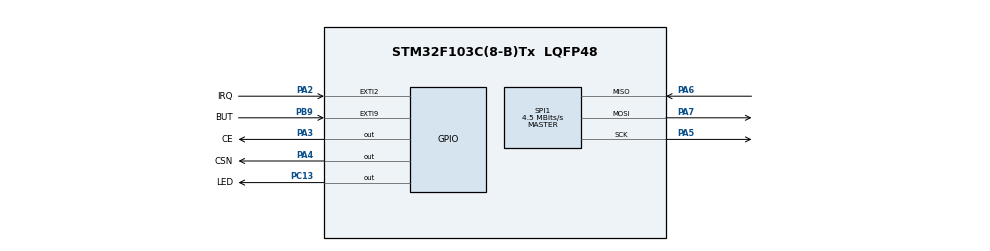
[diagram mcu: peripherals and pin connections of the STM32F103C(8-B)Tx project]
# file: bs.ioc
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Mcu.Family=STM32F1
Mcu.Name=STM32F103C(8-B)Tx
Mcu.Package=LQFP48
NVIC.EXTI2_IRQn=true\:1\:0\:true\:false\:true\:true\:true
NVIC.EXTI9_5_IRQn=true\:0\:0\:false\:false\:true\:true\:true
NVIC.PriorityGroup=NVIC_PRIORITYGROUP_4
NVIC.TIM2_IRQn=true\:0\:0\:false\:false\:true\:true\:true
PA13.Mode=Serial_Wire
PA13.Signal=SYS_JTMS-SWDIO
PA14.Mode=Serial_Wire
PA14.Signal=SYS_JTCK-SWCLK
PA2.GPIO_Label=IRQ
PA2.GPIO_ModeDefaultEXTI=GPIO_MODE_IT_FALLING
PA2.Signal=GPXTI2
PA3.GPIO_Label=CE
PA3.Signal=GPIO_Output
PA4.GPIO_Label=CSN
PA4.Signal=GPIO_Output
PA5.Mode=Full_Duplex_Master
PA5.Signal=SPI1_SCK
PA6.Mode=Full_Duplex_Master
PA6.Signal=SPI1_MISO
PA7.Mode=Full_Duplex_Master
PA7.Signal=SPI1_MOSI
PB9.GPIO_Label=BUT
PB9.GPIO_ModeDefaultEXTI=GPIO_MODE_IT_FALLING
PB9.GPIO_PuPd=GPIO_PULLUP
PB9.Signal=GPXTI9
PC13-TAMPER-RTC.GPIO_Label=LED
PC13-TAMPER-RTC.Signal=GPIO_Output
PD0-OSC_IN.Mode=HSE-External-Oscillator
PD0-OSC_IN.Signal=RCC_OSC_IN
PD1-OSC_OUT.Mode=HSE-External-Oscillator
PD1-OSC_OUT.Signal=RCC_OSC_OUT
ProjectManager.HeapSize=0x200
ProjectManager.StackSize=0x400
ProjectManager.TargetToolchain=MDK-ARM V5.32
RCC.AHBFreq_Value=72000000
RCC.APB1CLKDivider=RCC_HCLK_DIV2
RCC.APB1Freq_Value=36000000
RCC.APB1TimFreq_Value=72000000
RCC.APB2Freq_Value=72000000
RCC.APB2TimFreq_Value=72000000
RCC.HCLKFreq_Value=72000000
RCC.PLLMUL=RCC_PLL_MUL9
RCC.PLLSourceVirtual=RCC_PLLSOURCE_HSE
RCC.RTCClockSelection=RCC_RTCCLKSOURCE_LSE
RCC.SYSCLKFreq_VALUE=72000000
RCC.SYSCLKSource=RCC_SYSCLKSOURCE_PLLCLK
RCC.USBFreq_Value=72000000
SPI1.BaudRatePrescaler=SPI_BAUDRATEPRESCALER_16
SPI1.CalculateBaudRate=4.5 MBits/s
SPI1.Direction=SPI_DIRECTION_2LINES
SPI1.Mode=SPI_MODE_MASTER
SPI1.VirtualType=VM_MASTER
TIM2.Period=36000
TIM2.Prescaler=1
VP_IWDG_VS_IWDG.Mode=IWDG_Activate
VP_TIM2_VS_ClockSourceINT.Mode=Internal
board=custom

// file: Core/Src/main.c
/* USER CODE BEGIN Header */
/**
  ******************************************************************************
  * @file           : main.c
  * @brief          : Main program body
  ******************************************************************************
  * @attention
  *
  * Copyright (c) 2022 STMicroelectronics.
  * All rights reserved.
  *
  * This software is licensed under terms that can be found in the LICENSE file
  * in the root directory of this software component.
  * If no LICENSE file comes with this software, it is provided AS-IS.
  *
  ******************************************************************************
  */
/* USER CODE END Header */
#include "main.h"

/* USER CODE BEGIN PV */

uint8_t buf[5]={0};
uint32_t milisec = 0;
uint8_t pushed = 0;
uint32_t time_ms = 0;

/* USER CODE END PV */

void SystemClock_Config(void);
static void MX_GPIO_Init(void);
static void MX_IWDG_Init(void);
static void MX_SPI1_Init(void);
static void MX_TIM2_Init(void);

int main(void)
{

  /* MCU Configuration--------------------------------------------------------*/

  /* Reset of all peripherals, Initializes the Flash interface and the Systick. */

  LL_APB2_GRP1_EnableClock(LL_APB2_GRP1_PERIPH_AFIO);
  LL_APB1_GRP1_EnableClock(LL_APB1_GRP1_PERIPH_PWR);

  NVIC_SetPriorityGrouping(NVIC_PRIORITYGROUP_4);

  /* System interrupt init*/
  /* SysTick_IRQn interrupt configuration */
  NVIC_SetPriority(SysTick_IRQn, NVIC_EncodePriority(NVIC_GetPriorityGrouping(),15, 0));

  /** NOJTAG: JTAG-DP Disabled and SW-DP Enabled
  */
  LL_GPIO_AF_Remap_SWJ_NOJTAG();

  /* Configure the system clock */
  SystemClock_Config();

  /* Initialize all configured peripherals */
  MX_GPIO_Init();
  MX_IWDG_Init();
  MX_SPI1_Init();
  MX_TIM2_Init();
  /* USER CODE BEGIN 2 */
	LL_TIM_EnableCounter(TIM2);
	LL_TIM_CC_EnableChannel(TIM1, LL_TIM_CHANNEL_CH1);
	LL_TIM_EnableIT_UPDATE(TIM2);
  LL_SPI_Enable(SPI1);

	NRF24_init();

	buf[0] = BUT_ADDR;
	//(*(unsigned long*)&buf[1]) = 0xFFFFFFFF;

  /* USER CODE END 2 */

  /* Infinite loop */
  /* USER CODE BEGIN WHILE */
  while (1)
  {
		NRF24L01_Receive();

		//LL_mDelay(10);

    /* USER CODE END WHILE */

    /* USER CODE BEGIN 3 */
		LL_IWDG_ReloadCounter(IWDG);
  }
  /* USER CODE END 3 */
}

void SystemClock_Config(void)
{
  LL_FLASH_SetLatency(LL_FLASH_LATENCY_2);
  while(LL_FLASH_GetLatency()!= LL_FLASH_LATENCY_2)
  {
  }
  LL_RCC_HSE_Enable();

   /* Wait till HSE is ready */
  while(LL_RCC_HSE_IsReady() != 1)
  {

  }
  LL_RCC_LSI_Enable();

   /* Wait till LSI is ready */
  while(LL_RCC_LSI_IsReady() != 1)
  {

  }
  LL_RCC_PLL_ConfigDomain_SYS(LL_RCC_PLLSOURCE_HSE_DIV_1, LL_RCC_PLL_MUL_9);
  LL_RCC_PLL_Enable();

   /* Wait till PLL is ready */
  while(LL_RCC_PLL_IsReady() != 1)
  {

  }
  LL_RCC_SetAHBPrescaler(LL_RCC_SYSCLK_DIV_1);
  LL_RCC_SetAPB1Prescaler(LL_RCC_APB1_DIV_2);
  LL_RCC_SetAPB2Prescaler(LL_RCC_APB2_DIV_1);
  LL_RCC_SetSysClkSource(LL_RCC_SYS_CLKSOURCE_PLL);

   /* Wait till System clock is ready */
  while(LL_RCC_GetSysClkSource() != LL_RCC_SYS_CLKSOURCE_STATUS_PLL)
  {

  }
  LL_Init1msTick(72000000);
  LL_SetSystemCoreClock(72000000);
}

static void MX_IWDG_Init(void)
{

  LL_IWDG_Enable(IWDG);
  LL_IWDG_EnableWriteAccess(IWDG);
  LL_IWDG_SetPrescaler(IWDG, LL_IWDG_PRESCALER_4);
  LL_IWDG_SetReloadCounter(IWDG, 4095);
  while (LL_IWDG_IsReady(IWDG) != 1)
  {
  }

  LL_IWDG_ReloadCounter(IWDG);

}

static void MX_SPI1_Init(void)
{

  LL_SPI_InitTypeDef SPI_InitStruct = {0};

  LL_GPIO_InitTypeDef GPIO_InitStruct = {0};

  /* Peripheral clock enable */
  LL_APB2_GRP1_EnableClock(LL_APB2_GRP1_PERIPH_SPI1);

  LL_APB2_GRP1_EnableClock(LL_APB2_GRP1_PERIPH_GPIOA);
  /**SPI1 GPIO Configuration
  PA5   ------> SPI1_SCK
  PA6   ------> SPI1_MISO
  PA7   ------> SPI1_MOSI
  */
  GPIO_InitStruct.Pin = LL_GPIO_PIN_5|LL_GPIO_PIN_7;
  GPIO_InitStruct.Mode = LL_GPIO_MODE_ALTERNATE;
  GPIO_InitStruct.Speed = LL_GPIO_SPEED_FREQ_HIGH;
  GPIO_InitStruct.OutputType = LL_GPIO_OUTPUT_PUSHPULL;
  LL_GPIO_Init(GPIOA, &GPIO_InitStruct);

  GPIO_InitStruct.Pin = LL_GPIO_PIN_6;
  GPIO_InitStruct.Mode = LL_GPIO_MODE_FLOATING;
  LL_GPIO_Init(GPIOA, &GPIO_InitStruct);

  /* SPI1 parameter configuration*/
  SPI_InitStruct.TransferDirection = LL_SPI_FULL_DUPLEX;
  SPI_InitStruct.Mode = LL_SPI_MODE_MASTER;
  SPI_InitStruct.DataWidth = LL_SPI_DATAWIDTH_8BIT;
  SPI_InitStruct.ClockPolarity = LL_SPI_POLARITY_LOW;
  SPI_InitStruct.ClockPhase = LL_SPI_PHASE_1EDGE;
  SPI_InitStruct.NSS = LL_SPI_NSS_SOFT;
  SPI_InitStruct.BaudRate = LL_SPI_BAUDRATEPRESCALER_DIV16;
  SPI_InitStruct.BitOrder = LL_SPI_MSB_FIRST;
  SPI_InitStruct.CRCCalculation = LL_SPI_CRCCALCULATION_DISABLE;
  SPI_InitStruct.CRCPoly = 10;
  LL_SPI_Init(SPI1, &SPI_InitStruct);

}

static void MX_TIM2_Init(void)
{

  LL_TIM_InitTypeDef TIM_InitStruct = {0};

  /* Peripheral clock enable */
  LL_APB1_GRP1_EnableClock(LL_APB1_GRP1_PERIPH_TIM2);

  /* TIM2 interrupt Init */
  NVIC_SetPriority(TIM2_IRQn, NVIC_EncodePriority(NVIC_GetPriorityGrouping(),0, 0));
  NVIC_EnableIRQ(TIM2_IRQn);

  TIM_InitStruct.Prescaler = 1;
  TIM_InitStruct.CounterMode = LL_TIM_COUNTERMODE_UP;
  TIM_InitStruct.Autoreload = 36000;
  TIM_InitStruct.ClockDivision = LL_TIM_CLOCKDIVISION_DIV1;
  LL_TIM_Init(TIM2, &TIM_InitStruct);
  LL_TIM_DisableARRPreload(TIM2);
  LL_TIM_SetClockSource(TIM2, LL_TIM_CLOCKSOURCE_INTERNAL);
  LL_TIM_SetTriggerOutput(TIM2, LL_TIM_TRGO_RESET);
  LL_TIM_DisableMasterSlaveMode(TIM2);

}

static void MX_GPIO_Init(void)
{
  LL_EXTI_InitTypeDef EXTI_InitStruct = {0};
  LL_GPIO_InitTypeDef GPIO_InitStruct = {0};

  /* GPIO Ports Clock Enable */
  LL_APB2_GRP1_EnableClock(LL_APB2_GRP1_PERIPH_GPIOC);
  LL_APB2_GRP1_EnableClock(LL_APB2_GRP1_PERIPH_GPIOD);
  LL_APB2_GRP1_EnableClock(LL_APB2_GRP1_PERIPH_GPIOA);
  LL_APB2_GRP1_EnableClock(LL_APB2_GRP1_PERIPH_GPIOB);

  /**/
  LL_GPIO_ResetOutputPin(LED_GPIO_Port, LED_Pin);

  /**/
  LL_GPIO_ResetOutputPin(GPIOA, CE_Pin|CSN_Pin);

  /**/
  GPIO_InitStruct.Pin = LED_Pin;
  GPIO_InitStruct.Mode = LL_GPIO_MODE_OUTPUT;
  GPIO_InitStruct.Speed = LL_GPIO_SPEED_FREQ_LOW;
  GPIO_InitStruct.OutputType = LL_GPIO_OUTPUT_PUSHPULL;
  LL_GPIO_Init(LED_GPIO_Port, &GPIO_InitStruct);

  /**/
  GPIO_InitStruct.Pin = CE_Pin|CSN_Pin;
  GPIO_InitStruct.Mode = LL_GPIO_MODE_OUTPUT;
  GPIO_InitStruct.Speed = LL_GPIO_SPEED_FREQ_LOW;
  GPIO_InitStruct.OutputType = LL_GPIO_OUTPUT_PUSHPULL;
  LL_GPIO_Init(GPIOA, &GPIO_InitStruct);

  /**/
  LL_GPIO_AF_SetEXTISource(LL_GPIO_AF_EXTI_PORTA, LL_GPIO_AF_EXTI_LINE2);

  /**/
  LL_GPIO_AF_SetEXTISource(LL_GPIO_AF_EXTI_PORTB, LL_GPIO_AF_EXTI_LINE9);

  /**/
  EXTI_InitStruct.Line_0_31 = LL_EXTI_LINE_2;
  EXTI_InitStruct.LineCommand = ENABLE;
  EXTI_InitStruct.Mode = LL_EXTI_MODE_IT;
  EXTI_InitStruct.Trigger = LL_EXTI_TRIGGER_FALLING;
  LL_EXTI_Init(&EXTI_InitStruct);

  /**/
  EXTI_InitStruct.Line_0_31 = LL_EXTI_LINE_9;
  EXTI_InitStruct.LineCommand = ENABLE;
  EXTI_InitStruct.Mode = LL_EXTI_MODE_IT;
  EXTI_InitStruct.Trigger = LL_EXTI_TRIGGER_FALLING;
  LL_EXTI_Init(&EXTI_InitStruct);

  /**/
  LL_GPIO_SetPinMode(IRQ_GPIO_Port, IRQ_Pin, LL_GPIO_MODE_FLOATING);

  /**/
  LL_GPIO_SetPinMode(BUT_GPIO_Port, BUT_Pin, LL_GPIO_MODE_INPUT);

  /**/
  LL_GPIO_SetPinPull(BUT_GPIO_Port, BUT_Pin, LL_GPIO_PULL_UP);

  /* EXTI interrupt init*/
  NVIC_SetPriority(EXTI2_IRQn, NVIC_EncodePriority(NVIC_GetPriorityGrouping(),1, 0));
  NVIC_EnableIRQ(EXTI2_IRQn);
  NVIC_SetPriority(EXTI9_5_IRQn, NVIC_EncodePriority(NVIC_GetPriorityGrouping(),0, 0));
  NVIC_EnableIRQ(EXTI9_5_IRQn);

}

/* USER CODE BEGIN 4 */
void TIM2_Callback(void)
{
	if(LL_TIM_IsActiveFlag_UPDATE(TIM2))			//если флаг прерывания т/с
	{
		LL_TIM_ClearFlag_UPDATE(TIM2);					//опускаем флаг прерывания
		milisec++;
	}
}

void BUT_PUSH_Callback(void)
{
	if (!LL_GPIO_IsInputPinSet(BUT_GPIO_Port, BUT_Pin))
	{
		if(!pushed)
		{
			pushed = 1;
			time_ms = milisec;
		}
	}
}

/* USER CODE END 4 */

void Error_Handler(void)
{
  __disable_irq();
  while (1)
  {
  }
}
